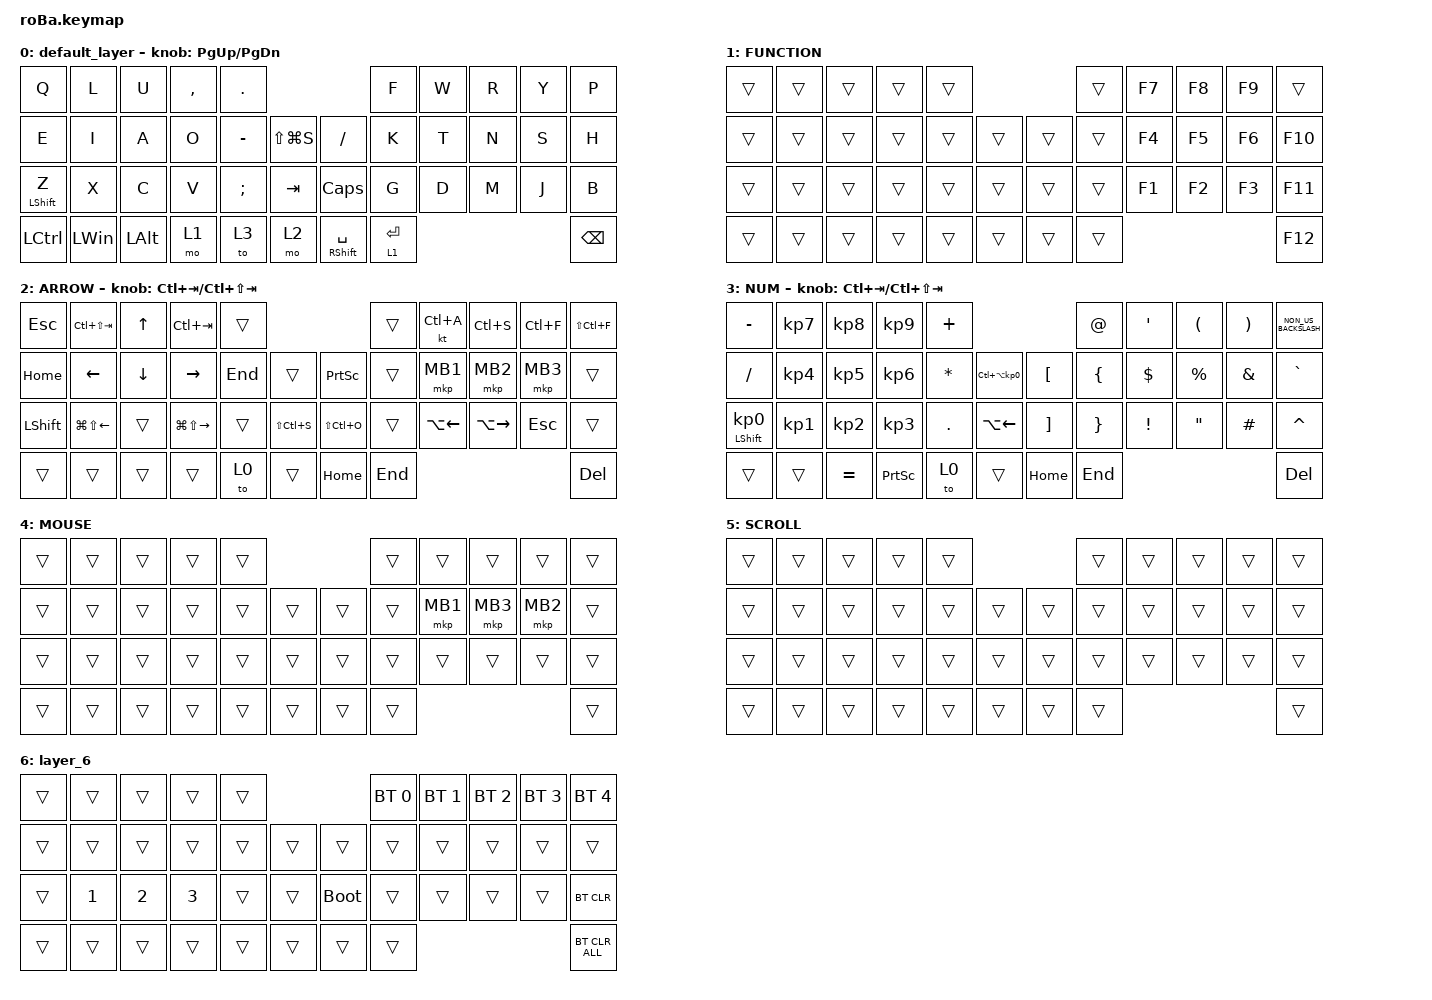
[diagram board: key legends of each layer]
#include <behaviors.dtsi>
#include <dt-bindings/zmk/bt.h>
#include <dt-bindings/zmk/keys.h>
#include <dt-bindings/zmk/pointing.h>

&mt {
    flavor = "balanced";
    quick-tap-ms = <0>;
};

&trackball {
    automouse-layer = <4>;
    scroll-layers = <5>;

    // arrows {
    //     layers = <3>;
    //     bindings =
    //         <&kp RIGHT_ARROW>,
    //         <&kp LEFT_ARROW>,
    //         <&kp UP_ARROW>,
    //         <&kp DOWN_ARROW>;
    //     tick = <10>;
    //     wait-ms = <5>;
    //     tap-ms = <5>;
    // };
};

/ {
    combos {
        compatible = "zmk,combos";

        tab {
            bindings = <&kp TAB>;
            key-positions = <11 12>;
        };

        shift_tab {
            bindings = <&kp LS(TAB)>;
            key-positions = <12 13>;
        };

        muhennkann {
            bindings = <&to_layer_0 INT_MUHENKAN>;
            key-positions = <11 10>;
        };

        double_quotation {
            bindings = <&kp DOUBLE_QUOTES>;
            key-positions = <20 21>;
        };

        eq {
            bindings = <&kp EQUAL>;
            key-positions = <24 25>;
        };
    };

    macros {
        to_layer_0: to_layer_0 {
            compatible = "zmk,behavior-macro-one-param";
            #binding-cells = <1>;
            bindings = <&to 0 &macro_param_1to1 &kp MACRO_PLACEHOLDER>;
            label = "TO_LAYER_0";
        };
    };

    behaviors {
        lt_to_layer_0: lt_to_layer_0 {
            compatible = "zmk,behavior-hold-tap";
            label = "LAYER_TAP_TO_0";
            bindings = <&mo>, <&to_layer_0>;

            #binding-cells = <2>;
            tapping-term-ms = <200>;
        };
    };

    keymap {
        compatible = "zmk,keymap";

        default_layer {
            bindings = <
&kp Q             &kp L         &kp U         &kp COMMA  &kp PERIOD                                               &kp F        &kp W  &kp R  &kp Y  &kp P
&kp E             &kp I         &kp A         &kp O      &kp MINUS      &kp LS(LG(S))      &kp SLASH              &kp K        &kp T  &kp N  &kp S  &kp H
&mt LEFT_SHIFT Z  &kp X         &kp C         &kp V      &kp SEMICOLON  &kp TAB            &kp CAPSLOCK           &kp G        &kp D  &kp M  &kp J  &kp B
&kp LCTRL         &kp LEFT_WIN  &kp LEFT_ALT  &mo 1      &to 3          &mo 2              &mt RIGHT_SHIFT SPACE  &lt 1 ENTER                       &kp BACKSPACE
            >;

            sensor-bindings = <&inc_dec_kp PG_UP PAGE_DOWN>;
        };

        FUNCTION {
            bindings = <
&trans  &trans  &trans  &trans  &trans                      &trans  &kp F7  &kp F8  &kp F9  &trans
&trans  &trans  &trans  &trans  &trans  &trans      &trans  &trans  &kp F4  &kp F5  &kp F6  &kp F10
&trans  &trans  &trans  &trans  &trans  &trans      &trans  &trans  &kp F1  &kp F2  &kp F3  &kp F11
&trans  &trans  &trans  &trans  &trans  &trans      &trans  &trans                          &kp F12
            >;
        };

        ARROW {
            bindings = <
&kp ESCAPE      &kp LC(LS(TAB))         &kp UP_ARROW    &kp LC(TAB)              &trans                                       &trans   &kt LC(A)     &kp LC(S)      &kp LC(F)   &kp LS(LC(F))
&kp HOME        &kp LEFT_ARROW          &kp DOWN_ARROW  &kp RIGHT_ARROW          &kp END  &trans             &kp PRINTSCREEN  &trans   &mkp MB1      &mkp MB2       &mkp MB3    &trans
&kp LEFT_SHIFT  &kp LG(LS(LEFT_ARROW))  &trans          &kp LG(LS(RIGHT_ARROW))  &trans   &kp LS(LC(S))      &kp LS(LC(O))    &trans   &kp LA(LEFT)  &kp LA(RIGHT)  &kp ESCAPE  &trans
&trans          &trans                  &trans          &trans                   &to 0    &trans             &kp HOME         &kp END                                           &kp DELETE
            >;

            sensor-bindings = <&inc_dec_kp LC(TAB) LC(LS(TAB))>;
        };

        NUM {
            bindings = <
&kp MINUS                   &kp KP_NUMBER_7  &kp KP_NUMBER_8  &kp KP_NUMBER_9  &kp PLUS                                                      &kp AT_SIGN      &kp SQT          &kp LEFT_PARENTHESIS  &kp RIGHT_PARENTHESIS  &kp NON_US_BACKSLASH
&kp SLASH                   &kp KP_NUMBER_4  &kp KP_NUMBER_5  &kp KP_NUMBER_6  &kp ASTERISK  &kp LC(LA(KP_NUMBER_0))      &kp LEFT_BRACKET   &kp LEFT_BRACE   &kp DOLLAR       &kp PERCENT           &kp AMPERSAND          &kp GRAVE
&mt LEFT_SHIFT KP_NUMBER_0  &kp KP_NUMBER_1  &kp KP_NUMBER_2  &kp KP_NUMBER_3  &kp PERIOD    &kp LA(LEFT)                 &kp RIGHT_BRACKET  &kp RIGHT_BRACE  &kp EXCLAMATION  &kp DOUBLE_QUOTES     &kp HASH               &kp CARET
&trans                      &trans           &kp EQUAL        &kp PRINTSCREEN  &to 0         &trans                       &kp HOME           &kp END                                                                        &kp DEL
            >;

            sensor-bindings = <&inc_dec_kp LC(TAB) LC(LS(TAB))>;
        };

        MOUSE {
            bindings = <
&trans  &trans  &trans  &trans  &trans                      &trans  &trans    &trans    &trans    &trans
&trans  &trans  &trans  &trans  &trans  &trans      &trans  &trans  &mkp MB1  &mkp MB3  &mkp MB2  &trans
&trans  &trans  &trans  &trans  &trans  &trans      &trans  &trans  &trans    &trans    &trans    &trans
&trans  &trans  &trans  &trans  &trans  &trans      &trans  &trans                                &trans
            >;
        };

        SCROLL {
            bindings = <
&trans  &trans  &trans  &trans  &trans                      &trans  &trans  &trans  &trans  &trans
&trans  &trans  &trans  &trans  &trans  &trans      &trans  &trans  &trans  &trans  &trans  &trans
&trans  &trans  &trans  &trans  &trans  &trans      &trans  &trans  &trans  &trans  &trans  &trans
&trans  &trans  &trans  &trans  &trans  &trans      &trans  &trans                          &trans
            >;
        };

        layer_6 {
            bindings = <
&trans  &trans        &trans        &trans        &trans                           &bt BT_SEL 0  &bt BT_SEL 1  &bt BT_SEL 2  &bt BT_SEL 3  &bt BT_SEL 4
&trans  &trans        &trans        &trans        &trans  &trans      &trans       &trans        &trans        &trans        &trans        &trans
&trans  &kp NUMBER_1  &kp NUMBER_2  &kp NUMBER_3  &trans  &trans      &bootloader  &trans        &trans        &trans        &trans        &bt BT_CLR
&trans  &trans        &trans        &trans        &trans  &trans      &trans       &trans                                                  &bt BT_CLR_ALL
            >;
        };
    };
};
